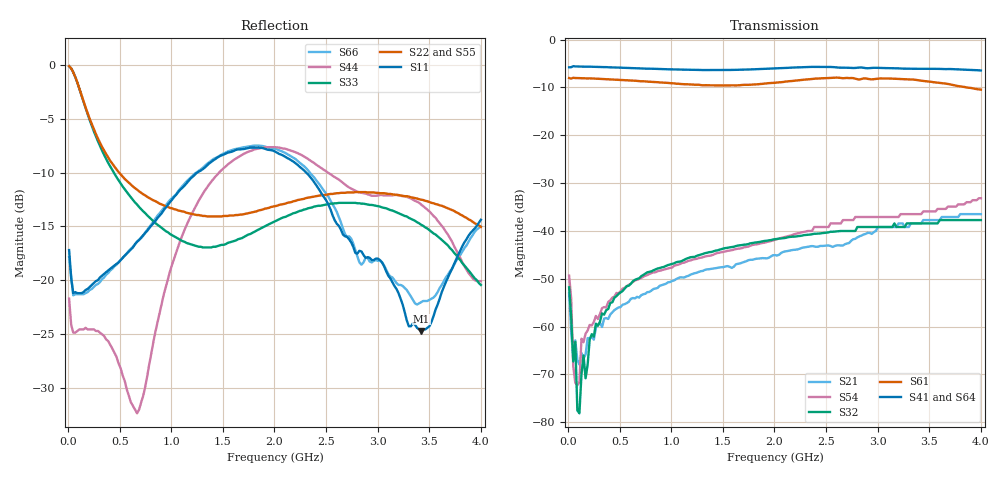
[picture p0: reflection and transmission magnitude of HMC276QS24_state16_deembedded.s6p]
! Hittite Microwave Corporation
! 20 Alpha Road
! Chelmsford, MA 01824
! Tel: 978-250-3343
! Fax: 978-250-3373
! Device: HMC276QS24, 0.7-3.0 GHz, GaAS MMIC 4x2 Switch Matrix in 24-lead QSOP package
! Misc: Data was de-embedded to package pins.
!  Port 1 = OP1
!  Port 2 = VL
!  Port 3 = VH
!  Port 4 = HH
!  Port 5 = HL
!  Port 6 = OP2
!  Vdd = +5 V
!  Vctl = 0 V[Logic 0] / +5 V[Logic 1]
!  State 16,  HH to OP1, HH to OP2
!  Control Lines (Logic)
!  HV 1 = 1, Tone 1 = 1
!  HV 2 = 1, Tone 2 = 1
!  Data reformated to new Touchstone file format - Wed Jan 10 16:02:56  2007
# MHz S DB R 50
! 6 Port Network Data
! freq  dbS11  angS11  dbS12  angS12  dbS13  angS13  dbS14  angS14
!  dbS15  angS15  dbS16  angS16
!  dbS21  angS21  dbS22  angS22
!  dbS23  angS23  dbS24  angS24  dbS25  angS25  dbS26  angS26
!  dbS31  angS31  dbS32  angS32  dbS33  angS33  dbS34  angS34
!  dbS35  angS35  dbS36  angS36
!  dbS41  angS41  dbS42  angS42
!  dbS43  angS43  dbS44  angS44  dbS45  angS45  dbS46  angS46
!  dbS51  angS51  dbS52  angS52  dbS53  angS53  dbS54  angS54
!  dbS55  angS55  dbS56  angS56
!  dbS61  angS61  dbS62  angS62
!  dbS63  angS63  dbS64  angS64  dbS65  angS65  dbS66  angS66
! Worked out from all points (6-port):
!   201 points, 10 MHz to 4 GHz, reference 50 ohm
!   strongest paths, dB at 10 MHz, 1.008 GHz, 2.005 GHz, 3.002 GHz, 4 GHz:
!     S41: -5.8, -6.2, -6.0, -5.9, -6.4
!     S64: -5.9, -6.2, -6.1, -5.9, -6.5
!     S61: -8.0, -9.1, -9.0, -8.2, -10.5
!     S32: -51.8, -46.9, -41.7, -39.2, -37.7
!     S54: -49.4, -47.7, -41.8, -37.1, -33.2
!     S21: -53.0, -50.5, -45.0, -39.2, -36.5
!   lowest |S11| = -24.7 dB at 3.421 GHz (marker M1), VSWR 1.12, Z = 54 + j4.54 ohm
!   |S11| at or under -10 dB: start of sweep to 1.248 GHz; 2.309 GHz to end of sweep
